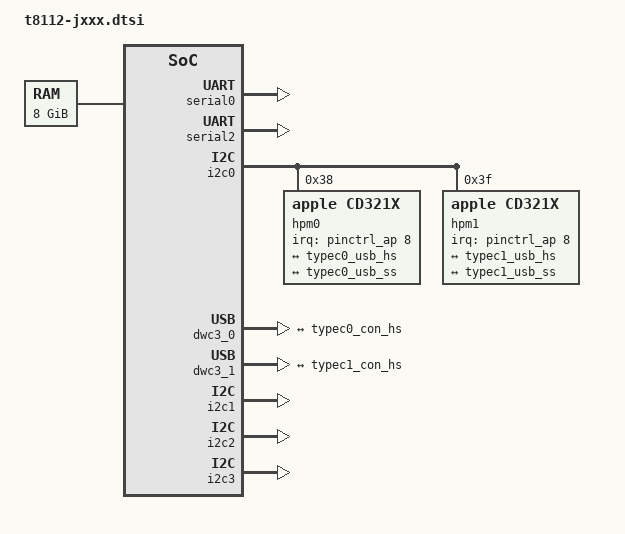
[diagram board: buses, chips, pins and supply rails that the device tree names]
// SPDX-License-Identifier: GPL-2.0+ OR MIT
/*
 * Apple M2 MacBook Air/Pro (M2, 2022)
 *
 * This file contains parts common to all Apple M2 devices using the t8112.
 *
 * target-type: J493, J413
 *
 * Copyright The Asahi Linux Contributors
 */

/ {
	aliases {
		atcphy0 = &atcphy0;
		atcphy1 = &atcphy1;
		dcp = &dcp;
		disp0 = &display;
		disp0_piodma = &disp0_piodma;
		nvram = &nvram;
		serial0 = &serial0;
		serial2 = &serial2;
	};

	chosen {
		#address-cells = <2>;
		#size-cells = <2>;
		ranges;

		stdout-path = "serial0";

		framebuffer0: framebuffer@0 {
			compatible = "apple,simple-framebuffer", "simple-framebuffer";
			reg = <0 0 0 0>; /* To be filled by loader */
			power-domains = <&ps_disp0_cpu0>;
			/* Format properties will be added by loader */
			status = "disabled";
		};
	};

	reserved-memory {
		#address-cells = <2>;
		#size-cells = <2>;
		ranges;
		/* To be filled by loader */
	};

	memory@800000000 {
		device_type = "memory";
		reg = <0x8 0 0x2 0>; /* To be filled by loader */
	};
};

&serial0 {
	status = "okay";
};

&serial2 {
	status = "okay";
};

&i2c0 {
	status = "okay";

	hpm0: usb-pd@38 {
		compatible = "apple,cd321x";
		reg = <0x38>;
		interrupt-parent = <&pinctrl_ap>;
		interrupts = <8 IRQ_TYPE_LEVEL_LOW>;
		interrupt-names = "irq";

		typec0: connector {
			compatible = "usb-c-connector";
			power-role = "dual";
			data-role = "dual";

			ports {
				#address-cells = <1>;
				#size-cells = <0>;
				port@0 {
					reg = <0>;
					typec0_con_hs: endpoint {
						remote-endpoint = <&typec0_usb_hs>;
					};
				};
				port@1 {
					reg = <1>;
					typec0_con_ss: endpoint {
						remote-endpoint = <&typec0_usb_ss>;
					};
				};
			};
		};
	};

	hpm1: usb-pd@3f {
		compatible = "apple,cd321x";
		reg = <0x3f>;
		interrupt-parent = <&pinctrl_ap>;
		interrupts = <8 IRQ_TYPE_LEVEL_LOW>;
		interrupt-names = "irq";

		typec1: connector {
			compatible = "usb-c-connector";
			power-role = "dual";
			data-role = "dual";

			ports {
				#address-cells = <1>;
				#size-cells = <0>;
				port@0 {
					reg = <0>;
					typec1_con_hs: endpoint {
						remote-endpoint = <&typec1_usb_hs>;
					};
				};
				port@1 {
					reg = <1>;
					typec1_con_ss: endpoint {
						remote-endpoint = <&typec1_usb_ss>;
					};
				};
			};
		};
	};
};

/* USB controllers */
&dwc3_0 {
	port {
		typec0_usb_hs: endpoint {
			remote-endpoint = <&typec0_con_hs>;
		};
	};
};

&dwc3_1 {
	port {
		typec1_usb_hs: endpoint {
			remote-endpoint = <&typec1_con_hs>;
		};
	};
};

/* Type-C PHYs */
&atcphy0 {
	port {
		typec0_usb_ss: endpoint {
			remote-endpoint = <&typec0_con_ss>;
		};
	};
};

&atcphy1 {
	port {
		typec1_usb_ss: endpoint {
			remote-endpoint = <&typec1_con_ss>;
		};
	};
};

&i2c1 {
	status = "okay";
};

&i2c2 {
	status = "okay";
};

&i2c3 {
	status = "okay";
};

&nco_clkref {
	clock-frequency = <900000000>;
};

#include "hwmon-common.dtsi"

#include "spi1-nvram.dtsi"
